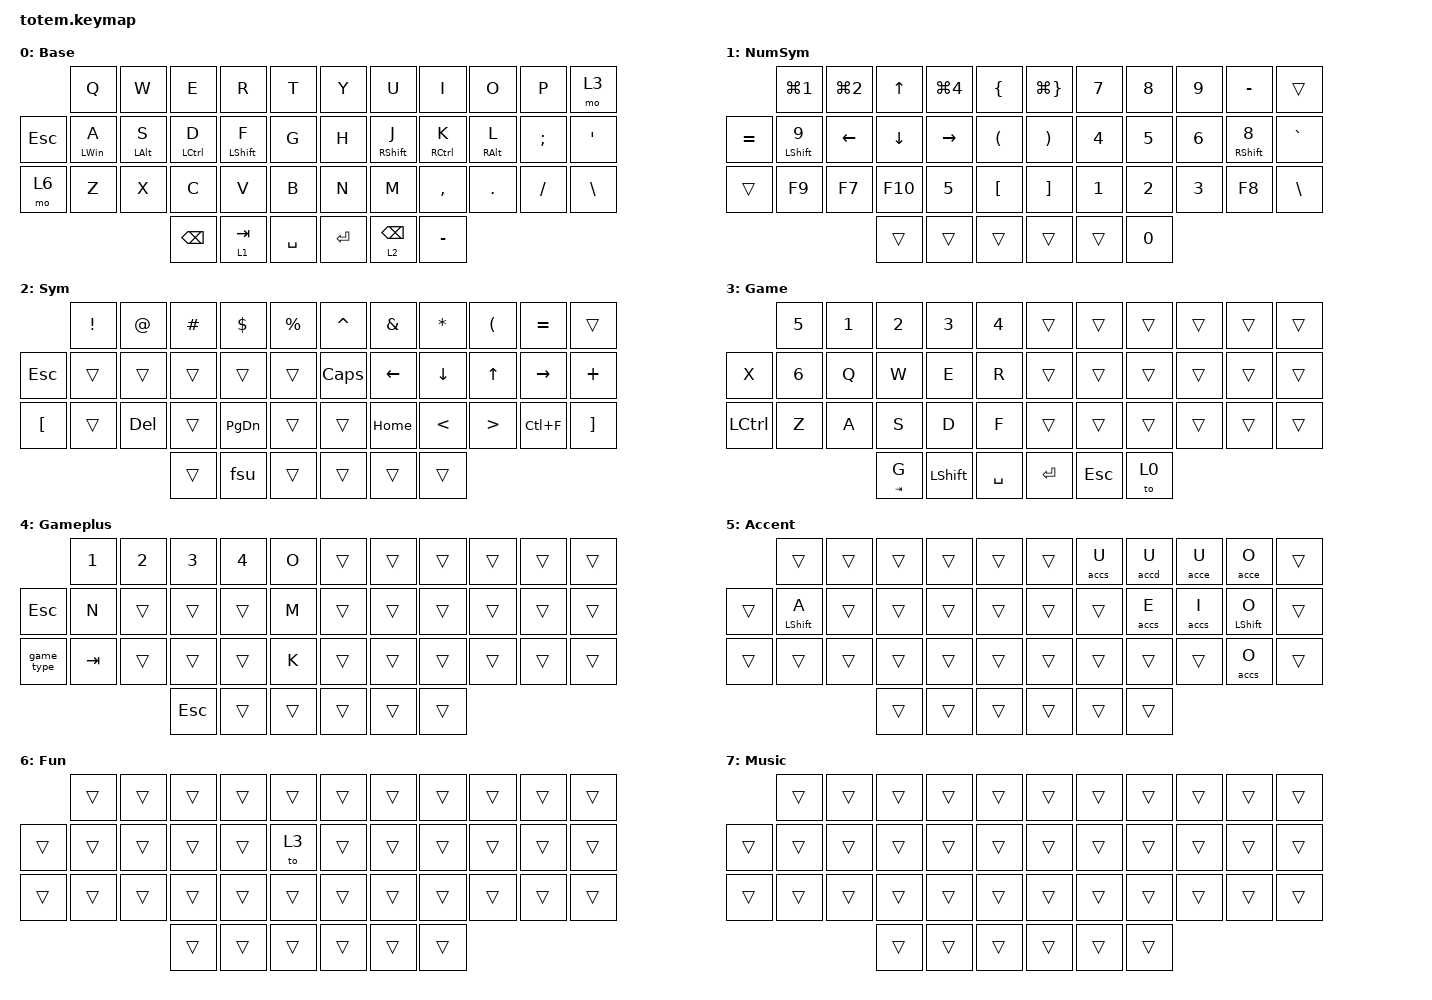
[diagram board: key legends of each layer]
//
//                                                        ▀▀▀▀▀     ▀▀▀▀▀          ▀▀█▀▀
//                                                        ▄▀▀▀▄  ▄  ▄▀▀▀▄  ▄  ▄▀▀▀▄  █  ▄▀▀▀▄
//                                                        █   █  █  █   █  █  █   █  █  █   █
//                                                         ▀▀▀   █   ▀▀▀   █   ▀▀▀   ▀   ▀▀▀
//                                                               █      ▄▄▄█▄▄▄    █   █
//                                                               ▀      █  █  █     █▄█
//                                                             ▀▀▀▀▀    █  █  █      ▀
//                                                                      ▀  ▀  ▀
//
// ▄▄▄▄▄▄▄▄▄▄▄▄▄▄▄▄▄▄▄▄▄▄▄▄▄▄▄▄▄▄▄▄▄▄▄▄▄▄▄▄▄▄▄▄▄▄▄▄▄▄▄▄▄▄▄▄▄▄▄▄▄▄▄▄▄▄▄▄▄▄▄▄▄▄▄▄▄▄▄▄▄▄▄▄▄▄▄▄▄▄▄▄▄▄▄▄▄▄▄▄▄▄▄▄▄▄▄▄▄▄▄▄▄▄▄▄▄▄▄▄▄▄▄▄▄▄▄▄▄▄▄▄▄▄▄▄▄▄▄▄▄▄▄▄▄▄▄▄▄

#include <dt-bindings/zmk/mouse.h>
#include <behaviors.dtsi>
#include <dt-bindings/zmk/keys.h>

#define Base        0
#define Media       1
#define Nav         2
#define NumSym      3
#define Game        4
#define Gameplus    5
#define Accent      6

&mt {
    quick-tap-ms = <100>;
    global-quick-tap;
    flavor = "tap-preferred";
    tapping-term-ms = <170>;
};

&lt {
    tapping-term-ms = <240>;
    flavor = "balanced";
    quick-tap-ms = <150>;
};

/ {
    behaviors {
        hm: homerow_mods {
            compatible = "zmk,behavior-hold-tap";
            label = "HOMEROW_MODS";
            #binding-cells = <2>;
            flavor = "balanced";
            tapping-term-ms = <180>;
            global-quick-tap;
            bindings = <&kp>, <&kp>;

            quick-tap-ms = <150>;
            require-prior-idle-ms = <175>;
        };

        fsu: flip_shift_underscore {
            compatible = "zmk,behavior-mod-morph";
            label = "FLIP_SHIFT_UNDERSCORE";
            bindings = <&kp UNDER>, <&kp MINUS>;

            #binding-cells = <0>;
            mods = <(MOD_LSFT|MOD_RSFT)>;
        };

        f1s: f1or11 {
            compatible = "zmk,behavior-mod-morph";
            label = "F1OR11";
            bindings = <&kp F1>, <&kp F11>;

            #binding-cells = <0>;
            mods = <(MOD_LSFT|MOD_RSFT)>;
        };

        f2s: f2_or_f12 {
            compatible = "zmk,behavior-mod-morph";
            label = "F2_OR_F12";
            bindings = <&kp F2>, <&kp F12>;

            #binding-cells = <0>;
            mods = <(MOD_LSFT|MOD_RSFT)>;
        };

        sqns: single_quote_no_shift {
            compatible = "zmk,behavior-mod-morph";
            label = "SINGLE_QUOTE_NO_SHIFT";
            bindings = <&kp SQT>, <&kp SQT>;

            #binding-cells = <0>;
            mods = <(MOD_LSFT|MOD_RSFT)>;
        };

        dqns: double_quote_no_shift {
            compatible = "zmk,behavior-mod-morph";
            label = "DOUBLE_QUOTE_NO_SHIFT";
            bindings = <&kp DQT>, <&kp DQT>;

            #binding-cells = <0>;
            mods = <(MOD_LSFT|MOD_RSFT)>;
        };

        eqns: equal_no_shift {
            compatible = "zmk,behavior-mod-morph";
            label = "EQUAL_NO_SHIFT";
            bindings = <&kp EQUAL>, <&kp EQUAL>;

            #binding-cells = <0>;
            mods = <(MOD_LSFT|MOD_RSFT)>;
        };

        df: double_function {
            compatible = "zmk,behavior-hold-tap";
            label = "DOUBLE_FUNCTION";
            bindings = <&kp>, <&kp>;

            #binding-cells = <2>;
            tapping-term-ms = <150>;
        };

        hmaccs: homerow_mods_accent_single {
            compatible = "zmk,behavior-hold-tap";
            label = "HOMEROW_MODS_ACCENT_SINGLE";
            #binding-cells = <2>;
            flavor = "balanced";
            tapping-term-ms = <150>;
            global-quick-tap;
            bindings = <&kp>, <&accs>;
        };

        hmaccd: homerow_mods_accent_double {
            compatible = "zmk,behavior-hold-tap";
            label = "HOMEROW_MODS_ACCENT_DOUBLE";
            #binding-cells = <2>;
            flavor = "balanced";
            tapping-term-ms = <150>;
            global-quick-tap;
            bindings = <&kp>, <&accd>;
        };
    };

    combos {
        compatible = "zmk,combos";

        combo_capsword {
            bindings = <&caps_word>;
            key-positions = <12 21>;
            timeout-ms = <30>;
            require-prior-idle-ms = <50>;
            layers = <0>;
        };

        Backspace {
            bindings = <&kp BACKSPACE>;
            key-positions = <18 19>;
        };

        task {
            bindings = <&kp LC(LA(DEL))>;
            key-positions = <15 14 13>;
        };

        screengrab {
            bindings = <&kp LG(LS(S))>;
            key-positions = <18 19 20>;
        };
    };

    macros {
        cps: copy_shot {
            compatible = "zmk,behavior-macro";
            #binding-cells = <0>;
            bindings = <&kp LG(R) &kp C>;
            label = "COPY_SHOT";
        };

        fsh: full_screen_shot {
            compatible = "zmk,behavior-macro";
            #binding-cells = <0>;
            bindings = <&kp LG(R) &kp F>;
            label = "FULL_SCREEN_SHOT";
        };

        acc: accent {
            compatible = "zmk,behavior-macro-two-param";
            #binding-cells = <2>;
            bindings =
                <&macro_press>,
                <&kp RALT &macro_param_1to1>,
                <&macro_tap>,
                <&kp MACRO_PLACEHOLDER &macro_param_2to1>,
                <&macro_tap>,
                <&kp MACRO_PLACEHOLDER>,
                <&macro_release>,
                <&kp RALT>;
        };

        accs: accent_single_quote {
            compatible = "zmk,behavior-macro-one-param";
            #binding-cells = <1>;
            bindings =
                <&macro_press>,
                <&kp RALT>,
                <&macro_tap>,
                <&sqns &macro_param_1to1 &kp MACRO_PLACEHOLDER>,
                <&macro_release>,
                <&kp RALT>;

            label = "ACCENT_SINGLE_QUOTE";
        };

        accd: accent_double_quote {
            compatible = "zmk,behavior-macro-one-param";
            #binding-cells = <1>;
            bindings =
                <&macro_press>,
                <&kp RALT>,
                <&macro_tap>,
                <&dqns &macro_param_1to1 &kp MACRO_PLACEHOLDER>,
                <&macro_release>,
                <&kp RALT>;

            label = "ACCENT_DOUBLE_QUOTE";
        };

        acce: accent_equal {
            compatible = "zmk,behavior-macro-one-param";
            #binding-cells = <1>;
            bindings =
                <&macro_press>,
                <&kp RALT>,
                <&macro_tap>,
                <&eqns &macro_param_1to1 &kp MACRO_PLACEHOLDER>,
                <&macro_release>,
                <&kp RALT>;

            label = "ACCENT_EQUAL";
        };

        game_type: game_type {
            compatible = "zmk,behavior-macro";
            #binding-cells = <0>;
            bindings = <&kp ENTER &to 0>;
            label = "GAME_TYPE";
        };

        game_type_exit: game_type_exit {
            compatible = "zmk,behavior-macro-one-param";
            #binding-cells = <1>;
            bindings = <&macro_param_1to1 &kp MACRO_PLACEHOLDER &to 3>;
            label = "GAME_TYPE_EXIT";
        };
    };

    keymap {
        compatible = "zmk,keymap";

        Base {
            label = "Base";
            bindings = <
            &kp Q           &kp W           &kp E               &kp R             &kp T        &kp Y      &kp U              &kp I                &kp O            &kp P      &mo 3
&kp ESCAPE  &hm LEFT_WIN A  &hm LEFT_ALT S  &hm LEFT_CONTROL D  &hm LEFT_SHIFT F  &kp G        &kp H      &hm RIGHT_SHIFT J  &hm RIGHT_CONTROL K  &hm RIGHT_ALT L  &kp SEMI   &kp APOS
&mo 6       &kp Z           &kp X           &kp C               &kp V             &kp B        &kp N      &kp M              &kp COMMA            &kp DOT          &kp SLASH  &kp BACKSLASH
                                            &kp BACKSPACE       &lt 1 TAB         &kp SPACE    &kp ENTER  &lt 2 BACKSPACE    &kp MINUS
            >;
        };

        NumSym {
            label = "NumSym";
            bindings = <
           &kp LG(N1)    &kp LG(N2)  &kp UP_ARROW  &kp LG(N4)  &kp LEFT_BRACE          &kp LG(RIGHT_BRACE)    &kp NUMBER_7  &kp NUMBER_8  &kp NUMBER_9  &kp MINUS     &trans
&kp EQUAL  &hm LSHFT N9  &kp LEFT    &kp DOWN      &kp RIGHT   &kp LEFT_PARENTHESIS    &kp RIGHT_PARENTHESIS  &kp NUMBER_4  &kp NUMBER_5  &kp NUMBER_6  &hm RSHFT N8  &kp GRAVE
&trans     &kp F9        &kp F7      &kp F10       &kp N5      &kp LEFT_BRACKET        &kp RIGHT_BRACKET      &kp NUMBER_1  &kp NUMBER_2  &kp NUMBER_3  &kp F8        &kp BSLH
                                     &trans        &trans      &trans                  &trans                 &trans        &kp NUMBER_0
            >;
        };

        Sym {
            label = "Sym";
            bindings = <
            &kp EXCL  &kp AT   &kp HASH  &kp DOLLAR  &kp PERCENT    &kp CARET  &kp AMPERSAND  &kp ASTERISK  &kp LEFT_PARENTHESIS  &kp EQUAL  &trans
&kp ESCAPE  &trans    &trans   &trans    &trans      &trans         &kp CAPS   &kp LEFT       &kp DOWN      &kp UP                &kp RIGHT  &kp PLUS
&kp LBKT    &trans    &kp DEL  &trans    &kp PG_DN   &trans         &trans     &kp HOME       &kp LT        &kp GT                &kp LC(F)  &kp RBKT
                               &trans    &fsu        &trans         &trans     &trans         &trans
            >;
        };

        Game {
            label = "Game";
            bindings = <
                  &kp NUMBER_5  &kp NUMBER_1  &kp N2     &kp NUMBER_3    &kp NUMBER_4    &trans     &trans      &trans  &trans  &trans  &trans
&kp X             &kp NUMBER_6  &kp Q         &kp W      &kp E           &kp R           &trans     &trans      &trans  &trans  &trans  &trans
&kp LEFT_CONTROL  &kp Z         &kp A         &kp S      &kp D           &kp F           &trans     &trans      &trans  &trans  &trans  &trans
                                              &df TAB G  &kp LEFT_SHIFT  &kp SPACE       &kp ENTER  &kp ESCAPE  &to 0
            >;
        };

        Gameplus {
            label = "Gameplus";
            bindings = <
            &kp NUMBER_1  &kp NUMBER_2  &kp NUMBER_3  &kp NUMBER_4  &kp O     &trans  &trans  &trans  &trans  &trans  &trans
&kp ESC     &kp N         &trans        &trans        &trans        &kp M     &trans  &trans  &trans  &trans  &trans  &trans
&game_type  &kp TAB       &trans        &trans        &trans        &kp K     &trans  &trans  &trans  &trans  &trans  &trans
                                        &kp ESCAPE    &trans        &trans    &trans  &trans  &trans
            >;
        };

        Accent {
            bindings = <
        &trans            &trans  &trans  &trans  &trans    &trans  &accs U  &accd U  &acce U  &acce O               &trans
&trans  &hmaccs LSHIFT A  &trans  &trans  &trans  &trans    &trans  &trans   &accs E  &accs I  &hmaccd LEFT_SHIFT O  &trans
&trans  &trans            &trans  &trans  &trans  &trans    &trans  &trans   &trans   &trans   &accs O               &trans
                                  &trans  &trans  &trans    &trans  &trans   &trans
            >;
        };

        Fun {
            bindings = <
        &trans  &trans  &trans  &trans  &trans    &trans  &trans  &trans  &trans  &trans  &trans
&trans  &trans  &trans  &trans  &trans  &to 3     &trans  &trans  &trans  &trans  &trans  &trans
&trans  &trans  &trans  &trans  &trans  &trans    &trans  &trans  &trans  &trans  &trans  &trans
                        &trans  &trans  &trans    &trans  &trans  &trans
            >;

            label = "Fun";
        };

        Music {
            bindings = <
        &trans  &trans  &trans  &trans  &trans    &trans  &trans  &trans  &trans  &trans  &trans
&trans  &trans  &trans  &trans  &trans  &trans    &trans  &trans  &trans  &trans  &trans  &trans
&trans  &trans  &trans  &trans  &trans  &trans    &trans  &trans  &trans  &trans  &trans  &trans
                        &trans  &trans  &trans    &trans  &trans  &trans
            >;

            label = "Music";
        };
    };
};
